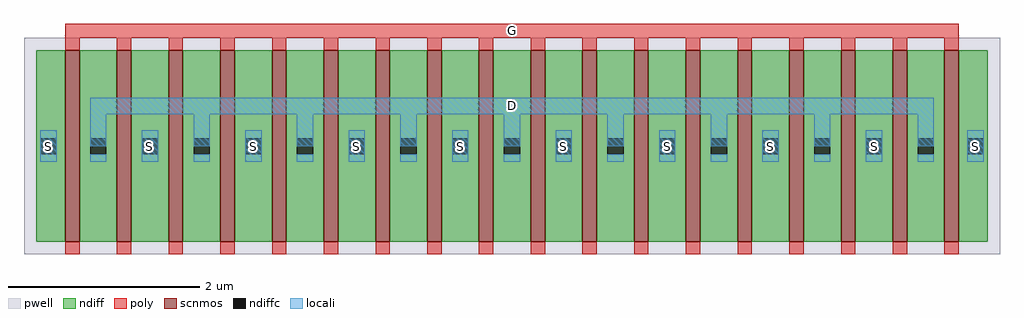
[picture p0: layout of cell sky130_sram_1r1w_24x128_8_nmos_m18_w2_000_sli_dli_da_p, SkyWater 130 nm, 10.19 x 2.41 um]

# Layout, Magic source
magic
tech sky130B
magscale 1 2
<< pwell >>
rect -26 -26 2012 426
<< scnmos >>
rect 60 0 90 400
rect 168 0 198 400
rect 276 0 306 400
rect 384 0 414 400
rect 492 0 522 400
rect 600 0 630 400
rect 708 0 738 400
rect 816 0 846 400
rect 924 0 954 400
rect 1032 0 1062 400
rect 1140 0 1170 400
rect 1248 0 1278 400
rect 1356 0 1386 400
rect 1464 0 1494 400
rect 1572 0 1602 400
rect 1680 0 1710 400
rect 1788 0 1818 400
rect 1896 0 1926 400
<< ndiff >>
rect 0 0 60 400
rect 90 0 168 400
rect 198 0 276 400
rect 306 0 384 400
rect 414 0 492 400
rect 522 0 600 400
rect 630 0 708 400
rect 738 0 816 400
rect 846 0 924 400
rect 954 0 1032 400
rect 1062 0 1140 400
rect 1170 0 1248 400
rect 1278 0 1356 400
rect 1386 0 1464 400
rect 1494 0 1572 400
rect 1602 0 1680 400
rect 1710 0 1788 400
rect 1818 0 1896 400
rect 1926 0 1986 400
<< poly >>
rect 60 426 1926 456
rect 60 400 90 426
rect 168 400 198 426
rect 276 400 306 426
rect 384 400 414 426
rect 492 400 522 426
rect 600 400 630 426
rect 708 400 738 426
rect 816 400 846 426
rect 924 400 954 426
rect 1032 400 1062 426
rect 1140 400 1170 426
rect 1248 400 1278 426
rect 1356 400 1386 426
rect 1464 400 1494 426
rect 1572 400 1602 426
rect 1680 400 1710 426
rect 1788 400 1818 426
rect 1896 400 1926 426
rect 60 -26 90 0
rect 168 -26 198 0
rect 276 -26 306 0
rect 384 -26 414 0
rect 492 -26 522 0
rect 600 -26 630 0
rect 708 -26 738 0
rect 816 -26 846 0
rect 924 -26 954 0
rect 1032 -26 1062 0
rect 1140 -26 1170 0
rect 1248 -26 1278 0
rect 1356 -26 1386 0
rect 1464 -26 1494 0
rect 1572 -26 1602 0
rect 1680 -26 1710 0
rect 1788 -26 1818 0
rect 1896 -26 1926 0
<< locali >>
rect 112 267 1874 301
rect 8 167 42 233
rect 112 200 146 267
rect 220 167 254 233
rect 328 200 362 267
rect 436 167 470 233
rect 544 200 578 267
rect 652 167 686 233
rect 760 200 794 267
rect 868 167 902 233
rect 976 200 1010 267
rect 1084 167 1118 233
rect 1192 200 1226 267
rect 1300 167 1334 233
rect 1408 200 1442 267
rect 1516 167 1550 233
rect 1624 200 1658 267
rect 1732 167 1766 233
rect 1840 200 1874 267
rect 1944 167 1978 233
use sky130_sram_1r1w_24x128_8_contact_10  sky130_sram_1r1w_24x128_8_contact_10_0
transform 1 0 1936 0 1 167
box -26 -22 76 88
use sky130_sram_1r1w_24x128_8_contact_10  sky130_sram_1r1w_24x128_8_contact_10_1
transform 1 0 1832 0 1 167
box -26 -22 76 88
use sky130_sram_1r1w_24x128_8_contact_10  sky130_sram_1r1w_24x128_8_contact_10_2
transform 1 0 1724 0 1 167
box -26 -22 76 88
use sky130_sram_1r1w_24x128_8_contact_10  sky130_sram_1r1w_24x128_8_contact_10_3
transform 1 0 1616 0 1 167
box -26 -22 76 88
use sky130_sram_1r1w_24x128_8_contact_10  sky130_sram_1r1w_24x128_8_contact_10_4
transform 1 0 1508 0 1 167
box -26 -22 76 88
use sky130_sram_1r1w_24x128_8_contact_10  sky130_sram_1r1w_24x128_8_contact_10_5
transform 1 0 1400 0 1 167
box -26 -22 76 88
use sky130_sram_1r1w_24x128_8_contact_10  sky130_sram_1r1w_24x128_8_contact_10_6
transform 1 0 1292 0 1 167
box -26 -22 76 88
use sky130_sram_1r1w_24x128_8_contact_10  sky130_sram_1r1w_24x128_8_contact_10_7
transform 1 0 1184 0 1 167
box -26 -22 76 88
use sky130_sram_1r1w_24x128_8_contact_10  sky130_sram_1r1w_24x128_8_contact_10_8
transform 1 0 1076 0 1 167
box -26 -22 76 88
use sky130_sram_1r1w_24x128_8_contact_10  sky130_sram_1r1w_24x128_8_contact_10_9
transform 1 0 968 0 1 167
box -26 -22 76 88
use sky130_sram_1r1w_24x128_8_contact_10  sky130_sram_1r1w_24x128_8_contact_10_10
transform 1 0 860 0 1 167
box -26 -22 76 88
use sky130_sram_1r1w_24x128_8_contact_10  sky130_sram_1r1w_24x128_8_contact_10_11
transform 1 0 752 0 1 167
box -26 -22 76 88
use sky130_sram_1r1w_24x128_8_contact_10  sky130_sram_1r1w_24x128_8_contact_10_12
transform 1 0 644 0 1 167
box -26 -22 76 88
use sky130_sram_1r1w_24x128_8_contact_10  sky130_sram_1r1w_24x128_8_contact_10_13
transform 1 0 536 0 1 167
box -26 -22 76 88
use sky130_sram_1r1w_24x128_8_contact_10  sky130_sram_1r1w_24x128_8_contact_10_14
transform 1 0 428 0 1 167
box -26 -22 76 88
use sky130_sram_1r1w_24x128_8_contact_10  sky130_sram_1r1w_24x128_8_contact_10_15
transform 1 0 320 0 1 167
box -26 -22 76 88
use sky130_sram_1r1w_24x128_8_contact_10  sky130_sram_1r1w_24x128_8_contact_10_16
transform 1 0 212 0 1 167
box -26 -22 76 88
use sky130_sram_1r1w_24x128_8_contact_10  sky130_sram_1r1w_24x128_8_contact_10_17
transform 1 0 104 0 1 167
box -26 -22 76 88
use sky130_sram_1r1w_24x128_8_contact_10  sky130_sram_1r1w_24x128_8_contact_10_18
transform 1 0 0 0 1 167
box -26 -22 76 88
<< labels >>
rlabel poly s 993 441 993 441 4 G
port 1 nsew
rlabel locali s 1961 200 1961 200 4 S
port 2 nsew
rlabel locali s 885 200 885 200 4 S
port 2 nsew
rlabel locali s 237 200 237 200 4 S
port 2 nsew
rlabel locali s 1317 200 1317 200 4 S
port 2 nsew
rlabel locali s 1533 200 1533 200 4 S
port 2 nsew
rlabel locali s 1749 200 1749 200 4 S
port 2 nsew
rlabel locali s 669 200 669 200 4 S
port 2 nsew
rlabel locali s 1101 200 1101 200 4 S
port 2 nsew
rlabel locali s 25 200 25 200 4 S
port 2 nsew
rlabel locali s 453 200 453 200 4 S
port 2 nsew
rlabel locali s 993 284 993 284 4 D
port 3 nsew
<< properties >>
string FIXED_BBOX -25 -26 2011 456
<< end >>

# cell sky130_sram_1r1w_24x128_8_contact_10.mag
magic
tech sky130B
<< pwell >>
rect -13 -11 38 44
<< ndiff >>
rect 0 25 25 31
rect 0 8 4 25
rect 21 8 25 25
rect 0 2 25 8
<< ndiffc >>
rect 4 8 21 25
<< locali >>
rect 4 25 21 33
rect 4 0 21 8
<< properties >>
string FIXED_BBOX -12 -10 37 43
<< end >>
